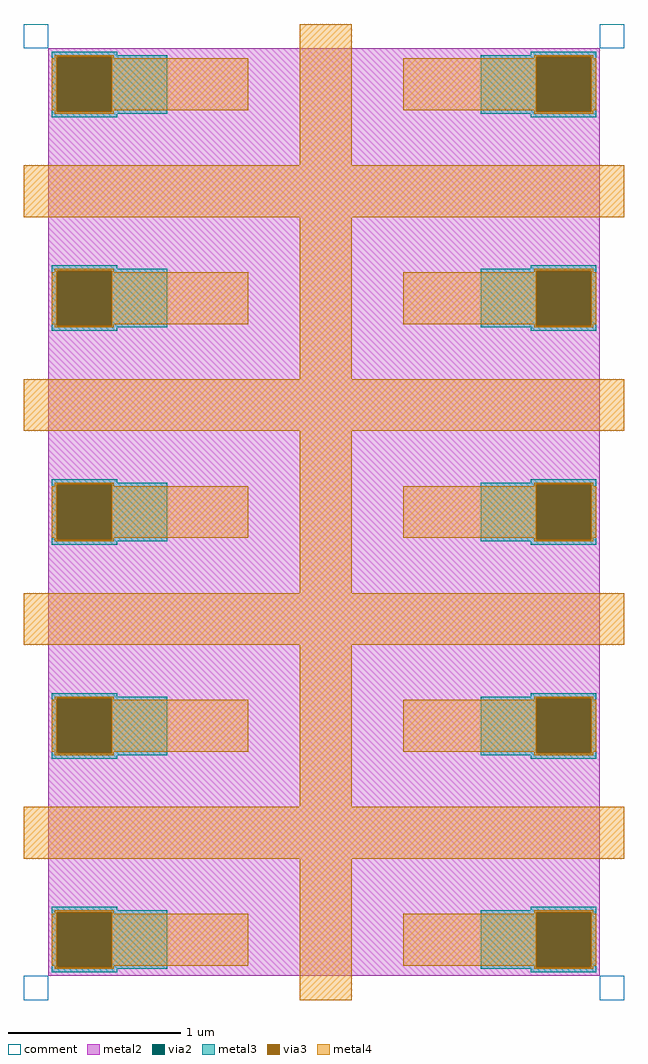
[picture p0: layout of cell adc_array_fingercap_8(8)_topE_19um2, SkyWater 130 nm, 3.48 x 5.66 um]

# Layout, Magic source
magic
tech sky130A
<< metal2 >>
rect 14 545 334 550
rect 14 513 19 545
rect 51 513 297 545
rect 329 513 334 545
rect 14 421 334 513
rect 14 389 19 421
rect 51 389 297 421
rect 329 389 334 421
rect 14 297 334 389
rect 14 265 19 297
rect 51 265 297 297
rect 329 265 334 297
rect 14 173 334 265
rect 14 141 19 173
rect 51 141 297 173
rect 329 141 334 173
rect 14 49 334 141
rect 14 17 19 49
rect 51 17 297 49
rect 329 17 334 49
rect 14 12 334 17
<< via2 >>
rect 19 513 51 545
rect 297 513 329 545
rect 19 389 51 421
rect 297 389 329 421
rect 19 265 51 297
rect 297 265 329 297
rect 19 141 51 173
rect 297 141 329 173
rect 19 17 51 49
rect 297 17 329 49
<< metal3 >>
rect 16 546 54 548
rect 294 546 332 548
rect 16 545 83 546
rect 16 513 19 545
rect 51 513 83 545
rect 16 512 83 513
rect 265 545 332 546
rect 265 513 297 545
rect 329 513 332 545
rect 265 512 332 513
rect 16 510 54 512
rect 294 510 332 512
rect 16 422 54 424
rect 294 422 332 424
rect 16 421 83 422
rect 16 389 19 421
rect 51 389 83 421
rect 16 388 83 389
rect 265 421 332 422
rect 265 389 297 421
rect 329 389 332 421
rect 265 388 332 389
rect 16 386 54 388
rect 294 386 332 388
rect 16 298 54 300
rect 294 298 332 300
rect 16 297 83 298
rect 16 265 19 297
rect 51 265 83 297
rect 16 264 83 265
rect 265 297 332 298
rect 265 265 297 297
rect 329 265 332 297
rect 265 264 332 265
rect 16 262 54 264
rect 294 262 332 264
rect 16 174 54 176
rect 294 174 332 176
rect 16 173 83 174
rect 16 141 19 173
rect 51 141 83 173
rect 16 140 83 141
rect 265 173 332 174
rect 265 141 297 173
rect 329 141 332 173
rect 265 140 332 141
rect 16 138 54 140
rect 294 138 332 140
rect 16 50 54 52
rect 294 50 332 52
rect 16 49 83 50
rect 16 17 19 49
rect 51 17 83 49
rect 16 16 83 17
rect 265 49 332 50
rect 265 17 297 49
rect 329 17 332 49
rect 265 16 332 17
rect 16 14 54 16
rect 294 14 332 16
<< via3 >>
rect 19 513 51 545
rect 297 513 329 545
rect 19 389 51 421
rect 297 389 329 421
rect 19 265 51 297
rect 297 265 329 297
rect 19 141 51 173
rect 297 141 329 173
rect 19 17 51 49
rect 297 17 329 49
<< metal4 >>
rect 18 545 52 546
rect 18 544 19 545
rect 16 514 19 544
rect 18 513 19 514
rect 51 544 52 545
rect 51 514 130 544
rect 51 513 52 514
rect 18 512 52 513
rect 160 482 190 564
rect 296 545 330 546
rect 296 544 297 545
rect 220 514 297 544
rect 296 513 297 514
rect 329 544 330 545
rect 329 514 332 544
rect 329 513 330 514
rect 296 512 330 513
rect 0 452 348 482
rect 18 421 52 422
rect 18 420 19 421
rect 16 390 19 420
rect 18 389 19 390
rect 51 420 52 421
rect 51 390 130 420
rect 51 389 52 390
rect 18 388 52 389
rect 160 358 190 452
rect 296 421 330 422
rect 296 420 297 421
rect 220 390 297 420
rect 296 389 297 390
rect 329 420 330 421
rect 329 390 332 420
rect 329 389 330 390
rect 296 388 330 389
rect 0 328 348 358
rect 18 297 52 298
rect 18 296 19 297
rect 16 266 19 296
rect 18 265 19 266
rect 51 296 52 297
rect 51 266 130 296
rect 51 265 52 266
rect 18 264 52 265
rect 160 234 190 328
rect 296 297 330 298
rect 296 296 297 297
rect 220 266 297 296
rect 296 265 297 266
rect 329 296 330 297
rect 329 266 332 296
rect 329 265 330 266
rect 296 264 330 265
rect 0 204 348 234
rect 18 173 52 174
rect 18 172 19 173
rect 16 142 19 172
rect 18 141 19 142
rect 51 172 52 173
rect 51 142 130 172
rect 51 141 52 142
rect 18 140 52 141
rect 160 110 190 204
rect 296 173 330 174
rect 296 172 297 173
rect 220 142 297 172
rect 296 141 297 142
rect 329 172 330 173
rect 329 142 332 172
rect 329 141 330 142
rect 296 140 330 141
rect 0 80 348 110
rect 18 49 52 50
rect 18 48 19 49
rect 16 18 19 48
rect 18 17 19 18
rect 51 48 52 49
rect 51 18 130 48
rect 51 17 52 18
rect 18 16 52 17
rect 160 -2 190 80
rect 296 49 330 50
rect 296 48 297 49
rect 220 18 297 48
rect 296 17 297 18
rect 329 48 330 49
rect 329 18 332 48
rect 329 17 330 18
rect 296 16 330 17
<< comment >>
rect 0 550 14 564
rect 334 550 348 564
rect 0 -2 14 12
rect 334 -2 348 12
<< end >>
